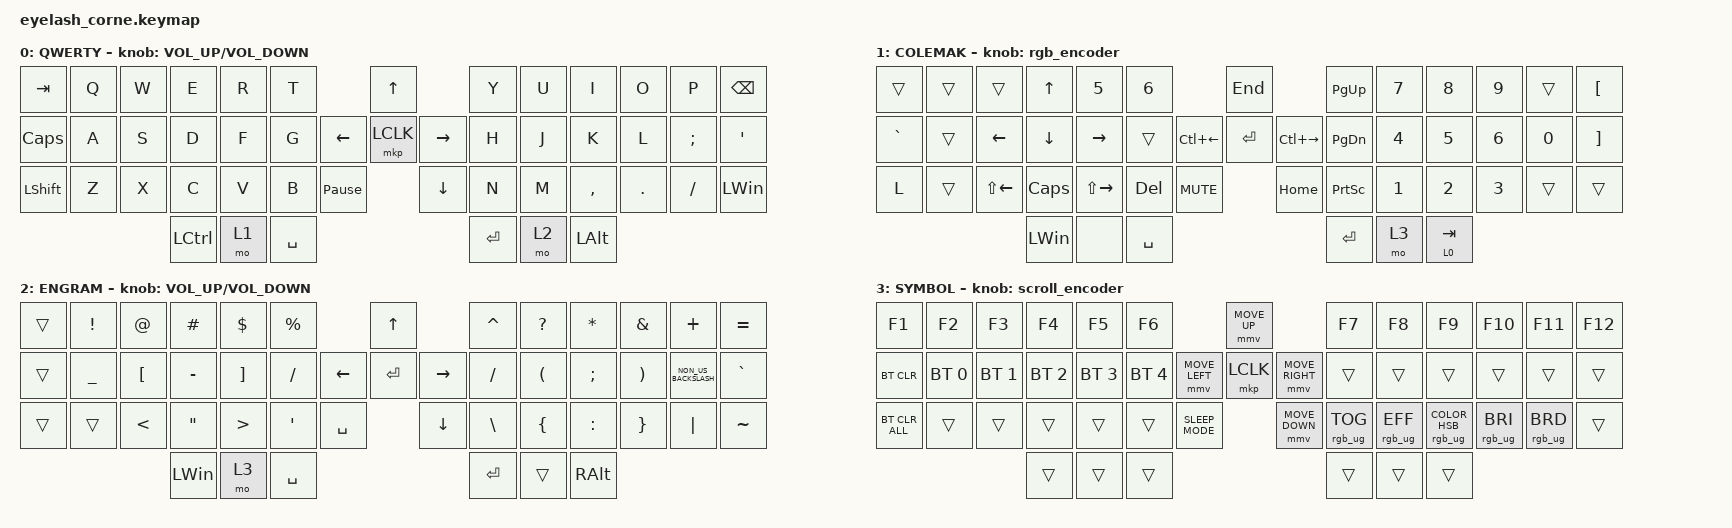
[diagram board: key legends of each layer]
#include <dt-bindings/zmk/mouse.h>
#include <input/processors.dtsi>
#include <behaviors.dtsi>
#include <dt-bindings/zmk/bt.h>
#include <dt-bindings/zmk/keys.h>
#include <dt-bindings/zmk/pointing.h>
#include <dt-bindings/zmk/rgb.h>

/*

   &mmv_input_listener {
       input-processors = <&zip_xy_scaler 2 1>;
   };

   &msc_input_listener {
       input-processors = <&zip_xy_scaler 2 1>;
   };

 */

#define ZMK_MOUSE_DEFAULT_MOVE_VAL 1200  // 600
#define ZMK_MOUSE_DEFAULT_SCRL_VAL 20    // 10

/ {
    behaviors {
        td0: td0 {
            compatible = "zmk,behavior-tap-dance";
            display-name = "Shift/Caps Lock Tap Dance";
            #binding-cells = <0>;
            bindings = <&kp LEFT_SHIFT>, <&kp CAPS>;
        };

        hrm_left: hrm_left {
            compatible = "zmk,behavior-hold-tap";
            label = "HRM_LEFT";
            bindings = <&kp>, <&kp>;

            #binding-cells = <2>;
            flavor = "tap-preferred";
            tapping-term-ms = <250>;
            quick-tap-ms = <300>;
            require-prior-idle-ms = <150>;
            hold-trigger-on-release;
            hold-trigger-key-positions = <6 7 20 21 22 35 36 45 46 47 8 9 10 11 12 23 24 25 26 27 37 38 39 40 41 19 34 44 43 42>;
        };

        hrm_right: hrm_right {
            compatible = "zmk,behavior-hold-tap";
            label = "HRM_RIGHT";
            bindings = <&kp>, <&kp>;

            #binding-cells = <2>;
            flavor = "tap-preferred";
            tapping-term-ms = <250>;
            quick-tap-ms = <300>;
            require-prior-idle-ms = <150>;
            hold-trigger-on-release;
            hold-trigger-key-positions = <0 1 2 3 4 5 13 14 15 16 17 18 28 29 30 31 32 33 34 42 43 44 19 20 21 35 6 45 46 47>;
        };

        layer_tap: layer_tap {
            compatible = "zmk,behavior-hold-tap";
            label = "LAYER_TAP";
            bindings = <&mo>, <&kp>;

            #binding-cells = <2>;
            quick-tap-ms = <150>;
            flavor = "balanced";
            tapping-term-ms = <170>;
        };
    };

    rgb_encoder: rgb_encoder {
        compatible = "zmk,behavior-sensor-rotate";
        #sensor-binding-cells = <0>;
        bindings = <&rgb_ug RGB_BRI>, <&rgb_ug RGB_BRD>;
    };

    scroll_encoder: scroll_encoder {
        compatible = "zmk,behavior-sensor-rotate";
        #sensor-binding-cells = <0>;
        bindings = <&msc SCRL_DOWN>, <&msc SCRL_UP>;

        tap-ms = <30>;
    };

    macros {
        less_than: less_than {
            compatible = "zmk,behavior-macro";
            #binding-cells = <0>;
            bindings =
                <&macro_press>,
                <&kp LEFT_ALT>,
                <&macro_tap>,
                <&kp KP_NUMBER_6 &kp KP_NUMBER_0>,
                <&macro_release>,
                <&kp LEFT_ALT>;

            label = "LESS_THAN";
        };

        greater_than: greater_than {
            compatible = "zmk,behavior-macro";
            #binding-cells = <0>;
            bindings =
                <&macro_press>,
                <&kp LEFT_ALT>,
                <&macro_tap>,
                <&kp KP_NUMBER_6 &kp KP_NUMBER_2>,
                <&macro_release>,
                <&kp LEFT_ALT>;

            label = "GREATER_THAN";
        };

        letf_brace: letf_brace {
            compatible = "zmk,behavior-macro";
            #binding-cells = <0>;
            bindings =
                <&macro_press>,
                <&kp LEFT_ALT>,
                <&macro_tap>,
                <&kp KP_NUMBER_1 &kp KP_NUMBER_2 &kp KP_NUMBER_3>,
                <&macro_release>,
                <&kp LEFT_ALT>;

            label = "LETF_BRACE";
        };

        right_brace: right_brace {
            compatible = "zmk,behavior-macro";
            #binding-cells = <0>;
            bindings =
                <&macro_press>,
                <&kp LEFT_ALT>,
                <&macro_tap>,
                <&kp KP_NUMBER_1 &kp KP_NUMBER_2 &kp KP_NUMBER_5>,
                <&macro_release>,
                <&kp LEFT_ALT>;

            label = "RIGHT_BRACE";
        };

        letf_barcket: letf_barcket {
            compatible = "zmk,behavior-macro";
            #binding-cells = <0>;
            bindings =
                <&macro_press>,
                <&kp LEFT_ALT>,
                <&macro_tap>,
                <&kp KP_NUMBER_9 &kp KP_NUMBER_1>,
                <&macro_release>,
                <&kp LEFT_ALT>;

            label = "LETF_BARCKET";
        };

        right_bracket: right_bracket {
            compatible = "zmk,behavior-macro";
            #binding-cells = <0>;
            bindings =
                <&macro_press>,
                <&kp LEFT_ALT>,
                <&macro_tap>,
                <&kp KP_NUMBER_9 &kp KP_NUMBER_3>,
                <&macro_release>,
                <&kp LEFT_ALT>;

            label = "RIGHT_BRACKET";
        };

        slash: slash {
            compatible = "zmk,behavior-macro";
            #binding-cells = <0>;
            bindings =
                <&macro_press>,
                <&kp LEFT_ALT>,
                <&macro_tap>,
                <&kp KP_NUMBER_4 &kp KP_NUMBER_7>,
                <&macro_release>,
                <&kp LEFT_ALT>;

            label = "SLASH";
        };

        back_slash: back_slash {
            compatible = "zmk,behavior-macro";
            #binding-cells = <0>;
            bindings =
                <&macro_press>,
                <&kp LEFT_ALT>,
                <&macro_tap>,
                <&kp KP_NUMBER_9 &kp KP_NUMBER_2>,
                <&macro_release>,
                <&kp LEFT_ALT>;

            label = "BACK_SLASH";
        };

        at_sign: at_sign {
            compatible = "zmk,behavior-macro";
            #binding-cells = <0>;
            bindings =
                <&macro_press>,
                <&kp LEFT_ALT>,
                <&macro_tap>,
                <&kp KP_NUMBER_6 &kp KP_NUMBER_4>,
                <&macro_release>,
                <&kp LEFT_ALT>;

            label = "AT_SIGN";
        };

        hash_sign: hash_sign {
            compatible = "zmk,behavior-macro";
            #binding-cells = <0>;
            bindings =
                <&macro_press>,
                <&kp LEFT_ALT>,
                <&macro_tap>,
                <&kp KP_NUMBER_3 &kp KP_NUMBER_5>,
                <&macro_release>,
                <&kp LEFT_ALT>;

            label = "HASH_SIGN";
        };

        dollar_sign: dollar_sign {
            compatible = "zmk,behavior-macro";
            #binding-cells = <0>;
            bindings =
                <&macro_press>,
                <&kp LEFT_ALT>,
                <&macro_tap>,
                <&kp KP_NUMBER_3 &kp KP_NUMBER_6>,
                <&macro_release>,
                <&kp LEFT_ALT>;

            label = "DOLLAR_SIGN";
        };

        caret_sign: caret_sign {
            compatible = "zmk,behavior-macro";
            #binding-cells = <0>;
            bindings =
                <&macro_press>,
                <&kp LEFT_ALT>,
                <&macro_tap>,
                <&kp KP_NUMBER_9 &kp KP_NUMBER_4>,
                <&macro_release>,
                <&kp LEFT_ALT>;

            label = "CARET_SIGN";
        };

        ask_sign: ask_sign {
            compatible = "zmk,behavior-macro";
            #binding-cells = <0>;
            bindings =
                <&macro_press>,
                <&kp LEFT_ALT>,
                <&macro_tap>,
                <&kp KP_NUMBER_6 &kp KP_NUMBER_3>,
                <&macro_release>,
                <&kp LEFT_ALT>;

            label = "ASK_SIGN";
        };

        ampersant_sign: ampersant_sign {
            compatible = "zmk,behavior-macro";
            #binding-cells = <0>;
            bindings =
                <&macro_press>,
                <&kp LEFT_ALT>,
                <&macro_tap>,
                <&kp KP_NUMBER_3 &kp KP_NUMBER_8>,
                <&macro_release>,
                <&kp LEFT_ALT>;

            label = "AMPERSANT_SIGN";
        };

        double_quotes: double_quotes {
            compatible = "zmk,behavior-macro";
            #binding-cells = <0>;
            bindings =
                <&macro_press>,
                <&kp LEFT_ALT>,
                <&macro_tap>,
                <&kp KP_NUMBER_3 &kp KP_NUMBER_4>,
                <&macro_release>,
                <&kp LEFT_ALT>;

            label = "DOUBLE_QUOTES";
        };

        single_quote: single_quote {
            compatible = "zmk,behavior-macro";
            #binding-cells = <0>;
            bindings =
                <&macro_press>,
                <&kp LEFT_ALT>,
                <&macro_tap>,
                <&kp KP_NUMBER_3 &kp KP_NUMBER_9>,
                <&macro_release>,
                <&kp LEFT_ALT>;

            label = "SINGLE_QUOTE";
        };

        pipe_sign: pipe_sign {
            compatible = "zmk,behavior-macro";
            #binding-cells = <0>;
            bindings =
                <&macro_press>,
                <&kp LEFT_ALT>,
                <&macro_tap>,
                <&kp KP_NUMBER_1 &kp KP_NUMBER_2 &kp KP_NUMBER_4>,
                <&macro_release>,
                <&kp LEFT_ALT>;

            label = "PIPE_SIGN";
        };

        tilde_sign: tilde_sign {
            compatible = "zmk,behavior-macro";
            #binding-cells = <0>;
            bindings =
                <&macro_press>,
                <&kp LEFT_ALT>,
                <&macro_tap>,
                <&kp KP_NUMBER_1 &kp KP_NUMBER_2 &kp KP_NUMBER_6>,
                <&macro_release>,
                <&kp LEFT_ALT>;

            label = "TILDE_SIGN";
        };

        grave_sign: grave_sign {
            compatible = "zmk,behavior-macro";
            #binding-cells = <0>;
            bindings =
                <&macro_press>,
                <&kp LEFT_ALT>,
                <&macro_tap>,
                <&kp KP_NUMBER_9 &kp KP_NUMBER_6>,
                <&macro_release>,
                <&kp LEFT_ALT>;

            label = "GRAVE_SIGN";
        };

        slash_sign: slash_sign {
            compatible = "zmk,behavior-macro";
            #binding-cells = <0>;
            bindings =
                <&macro_press>,
                <&kp LEFT_ALT>,
                <&macro_tap>,
                <&kp KP_NUMBER_4 &kp KP_NUMBER_7>,
                <&macro_release>,
                <&kp LEFT_ALT>;

            label = "SLASH_SIGN";
        };

        semicolon_sign: semicolon_sign {
            compatible = "zmk,behavior-macro";
            #binding-cells = <0>;
            bindings =
                <&macro_press>,
                <&kp LEFT_ALT>,
                <&macro_tap>,
                <&kp KP_NUMBER_5 &kp KP_NUMBER_8>,
                <&macro_release>,
                <&kp LEFT_ALT>;

            label = "SEMICOLON_SIGN";
        };

        colon_sign: colon_sign {
            compatible = "zmk,behavior-macro";
            #binding-cells = <0>;
            bindings =
                <&macro_press>,
                <&kp LEFT_ALT>,
                <&macro_tap>,
                <&kp KP_NUMBER_5 &kp KP_NUMBER_9>,
                <&macro_release>,
                <&kp LEFT_ALT>;

            label = "COLON_SIGN";
        };

        switch_lang: switch_lang {
            compatible = "zmk,behavior-macro";
            #binding-cells = <0>;
            bindings =
                <&macro_press>,
                <&kp LEFT_ALT>,
                <&macro_tap>,
                <&kp LEFT_SHIFT>,
                <&macro_release>,
                <&kp LEFT_ALT>;

            label = "SWITCH_LANG";
        };
    };

    combos {
        compatible = "zmk,combos";

        escape {
            bindings = <&kp ESCAPE>;
            key-positions = <0 1>;
        };

        alt {
            bindings = <&kp LEFT_ALT>;
            key-positions = <42 13>;
        };

        switch_lang {
            bindings = <&switch_lang>;
            key-positions = <42 28>;
        };
    };

    keymap {
        compatible = "zmk,keymap";

        qwerty {
            display-name = "QWERTY";
            bindings = <
&kp TAB         &kp Q  &kp W  &kp E             &kp R  &kp T                                         &kp UP_ARROW                     &kp Y      &kp U  &kp I         &kp O    &kp P          &kp BACKSPACE
&kp CAPS        &kp A  &kp S  &kp D             &kp F  &kp G                         &kp LEFT_ARROW  &mkp LCLK       &kp RIGHT_ARROW  &kp H      &kp J  &kp K         &kp L    &kp SEMICOLON  &kp SQT
&kp LEFT_SHIFT  &kp Z  &kp X  &kp C             &kp V  &kp B      &kp PAUSE_BREAK                    &kp DOWN_ARROW                   &kp N      &kp M  &kp COMMA     &kp DOT  &kp FSLH       &kp LEFT_WIN
                              &kp LEFT_CONTROL  &mo 1  &kp SPACE                                                                      &kp ENTER  &mo 2  &kp LEFT_ALT
            >;

            sensor-bindings = <&inc_dec_kp C_VOLUME_UP C_VOLUME_DOWN>;
        };

        colemak {
            display-name = "COLEMAK";
            bindings = <
&trans     &trans  &trans              &kp UP_ARROW    &kp N5               &kp N6                                  &kp END                   &kp PAGE_UP      &kp NUMBER_7  &kp NUMBER_8      &kp N9        &trans        &kp LEFT_BRACKET
&kp GRAVE  &trans  &kp LEFT_ARROW      &kp DOWN_ARROW  &kp RIGHT_ARROW      &trans                    &kp LC(LEFT)  &kp ENTER  &kp LC(RIGHT)  &kp PAGE_DOWN    &kp NUMBER_4  &kp NUMBER_5      &kp NUMBER_6  &kp NUMBER_0  &kp RIGHT_BRACKET
&kp L      &trans  &kp LS(LEFT_ARROW)  &kp CAPSLOCK    &kp LS(RIGHT_ARROW)  &kp DELETE  &kp K_MUTE                  &kp HOME                  &kp PRINTSCREEN  &kp NUMBER_1  &kp NUMBER_2      &kp NUMBER_3  &trans        &trans
                                       &kp LEFT_WIN    &none                &kp SPACE                                                         &kp ENTER        &mo 3         &layer_tap 0 TAB
            >;

            sensor-bindings = <&rgb_encoder>;
        };

        engram {
            display-name = "ENGRAM";
            bindings = <
&trans  &kp EXCLAMATION  &kp AT_SIGN       &kp HASH           &kp DOLLAR         &kp PERCENT                              &kp UP                &kp CARET      &kp QMARK             &kp ASTERISK   &kp AMPERSAND          &kp PLUS              &kp EQUAL
&trans  &kp UNDERSCORE   &kp LEFT_BRACKET  &kp MINUS          &kp RIGHT_BRACKET  &kp SLASH                      &kp LEFT  &kp ENTER  &kp RIGHT  &kp SLASH      &kp LEFT_PARENTHESIS  &kp SEMICOLON  &kp RIGHT_PARENTHESIS  &kp NON_US_BACKSLASH  &kp GRAVE
&trans  &trans           &kp LESS_THAN     &kp DOUBLE_QUOTES  &kp GREATER_THAN   &kp SINGLE_QUOTE  &kp SPACE              &kp DOWN              &kp BACKSLASH  &kp LEFT_BRACE        &kp COLON      &kp RIGHT_BRACE        &kp PIPE              &kp TILDE
                                           &kp LEFT_WIN       &mo 3              &kp SPACE                                                      &kp ENTER      &trans                &kp RIGHT_ALT
            >;

            sensor-bindings = <&inc_dec_kp C_VOLUME_UP C_VOLUME_DOWN>;
        };

        symbol {
            bindings = <
&kp F1          &kp F2        &kp F3        &kp F4        &kp F5        &kp F6                                            &mmv MOVE_UP                     &kp F7           &kp F8           &kp F9                             &kp F10          &kp F11          &kp F12
&bt BT_CLR      &bt BT_SEL 0  &bt BT_SEL 1  &bt BT_SEL 2  &bt BT_SEL 3  &bt BT_SEL 4                      &mmv MOVE_LEFT  &mkp LCLK       &mmv MOVE_RIGHT  &trans           &trans           &trans                             &trans           &trans           &trans
&bt BT_CLR_ALL  &trans        &trans        &trans        &trans        &trans        &kp C_SLEEP_MODE                    &mmv MOVE_DOWN                   &rgb_ug RGB_TOG  &rgb_ug RGB_EFF  &rgb_ug RGB_COLOR_HSB(126,100,50)  &rgb_ug RGB_BRI  &rgb_ug RGB_BRD  &trans
                                            &trans        &trans        &trans                                                                             &trans           &trans           &trans
            >;

            label = "SYMBOL";
            sensor-bindings = <&scroll_encoder>;
        };
    };
};
